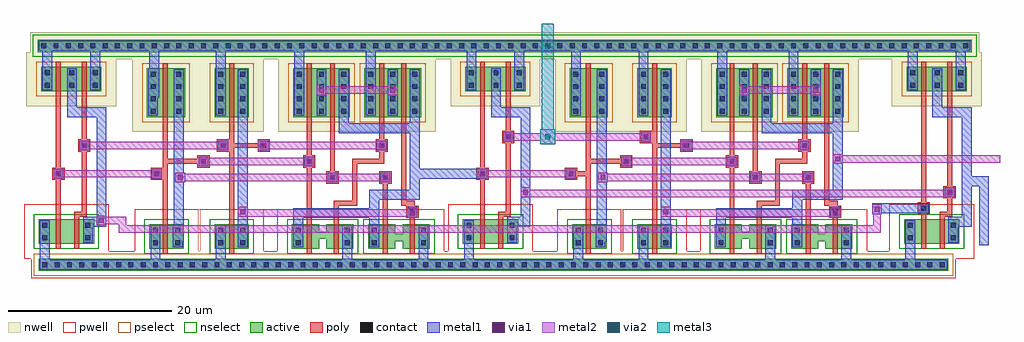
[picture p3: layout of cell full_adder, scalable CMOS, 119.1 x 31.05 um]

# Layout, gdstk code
import gdstk
lib = gdstk.Library(unit=1e-6, precision=1e-09)
def R(c, l, rs):  # rectangles x0, y0, x1, y1
    for r in rs: c.add(gdstk.rectangle(r[:2], r[2:], *l))
def A(c, l, x, y, w, h, nx, ny, dx, dy):  # array of equal rectangles
    R(c, l, [(x+i*dx, y+j*dy, x+i*dx+w, y+j*dy+h) for i in range(nx) for j in range(ny)])
contact = (25, 0)
pwell = (41, 0)
nwell = (42, 0)
active = (43, 0)
pselect = (44, 0)
nselect = (45, 0)
poly = (46, 0)
metal1 = (49, 0)
via1 = (50, 0)
metal2 = (51, 0)
via2 = (61, 0)
metal3 = (62, 0)

full_adder = lib.new_cell('full_adder')
A(full_adder, contact, 0.9, 1.35, 0.6, 0.6, 74, 1, 1.5, 0)
A(full_adder, contact, 14.1, 20.1, 0.6, 0.6, 1, 4, 0, 1.5)
A(full_adder, contact, 17.25, 20.1, 0.6, 0.6, 1, 4, 0, 1.5)
A(full_adder, contact, 22.35, 20.1, 0.6, 0.6, 1, 4, 0, 1.5)
A(full_adder, contact, 25.05, 20.1, 0.6, 0.6, 1, 4, 0, 1.5)
A(full_adder, contact, 31.95, 20.1, 0.6, 0.6, 3, 4, 2.7, 1.5)
A(full_adder, contact, 40.65, 20.1, 0.6, 0.6, 3, 4, 2.7, 1.5)
A(full_adder, contact, 65.7, 20.1, 0.6, 0.6, 1, 4, 0, 1.5)
A(full_adder, contact, 68.85, 20.1, 0.6, 0.6, 1, 4, 0, 1.5)
A(full_adder, contact, 73.95, 20.1, 0.6, 0.6, 1, 4, 0, 1.5)
A(full_adder, contact, 76.65, 20.1, 0.6, 0.6, 1, 4, 0, 1.5)
A(full_adder, contact, 83.55, 20.1, 0.6, 0.6, 3, 4, 2.7, 1.5)
A(full_adder, contact, 92.25, 20.1, 0.6, 0.6, 3, 4, 2.7, 1.5)
A(full_adder, contact, 0.75, 28.05, 0.6, 0.6, 76, 1, 1.5, 0)
R(full_adder, contact, [(14.4,4.05,15,4.65), (17.1,4.05,17.7,4.65), (22.35,4.05,22.95,4.65), (25.05,4.05,25.65,4.65), (31.8,4.05,32.4,4.65), (37.8,4.05,38.4,4.65), (41.1,4.05,41.7,4.65), (47.1,4.05,47.7,4.65), (66,4.05,66.6,4.65), (68.7,4.05,69.3,4.65), (73.95,4.05,74.55,4.65), (76.65,4.05,77.25,4.65), (83.4,4.05,84,4.65), (89.4,4.05,90,4.65), (92.7,4.05,93.3,4.65), (98.7,4.05,99.3,4.65), (0.9,4.65,1.5,5.25), (6.15,4.65,6.75,5.25), (52.65,4.65,53.25,5.25), (57.9,4.65,58.5,5.25), (106.5,4.65,107.1,5.25), (111.75,4.65,112.35,5.25), (14.4,5.55,15,6.15), (17.1,5.55,17.7,6.15), (22.35,5.55,22.95,6.15), (25.05,5.55,25.65,6.15), (31.8,5.55,32.4,6.15), (37.8,5.55,38.4,6.15), (41.1,5.55,41.7,6.15), (47.1,5.55,47.7,6.15), (66,5.55,66.6,6.15), (68.7,5.55,69.3,6.15), (73.95,5.55,74.55,6.15), (76.65,5.55,77.25,6.15), (83.4,5.55,84,6.15), (89.4,5.55,90,6.15), (92.7,5.55,93.3,6.15), (98.7,5.55,99.3,6.15), (0.9,6.15,1.5,6.75), (6.15,6.15,6.75,6.75), (52.65,6.15,53.25,6.75), (57.9,6.15,58.5,6.75), (106.5,6.15,107.1,6.75), (111.75,6.15,112.35,6.75), (45.75,7.8,46.35,8.4), (97.35,7.8,97.95,8.4), (108.15,8.25,108.75,8.85), (111.3,10.2,111.9,10.8), (36,12,36.6,12.6), (42.45,12,43.05,12.6), (87.6,12,88.2,12.6), (94.05,12,94.65,12.6), (2.55,12.45,3.15,13.05), (14.55,12.45,15.15,13.05), (54.3,12.45,54.9,13.05), (65.1,12.45,65.7,13.05), (20.25,13.95,20.85,14.55), (33.15,13.95,33.75,14.55), (71.85,13.95,72.45,14.55), (84.75,13.95,85.35,14.55), (5.7,15.9,6.3,16.5), (22.65,15.9,23.25,16.5), (27.6,15.9,28.2,16.5), (42,15.9,42.6,16.5), (79.2,15.9,79.8,16.5), (93.6,15.9,94.2,16.5), (57.45,16.95,58.05,17.55), (74.25,16.95,74.85,17.55), (1.2,23.25,1.8,23.85), (4.2,23.25,4.8,23.85), (7.05,23.25,7.65,23.85), (52.95,23.25,53.55,23.85), (55.95,23.25,56.55,23.85), (58.8,23.25,59.4,23.85), (106.8,23.25,107.4,23.85), (109.8,23.25,110.4,23.85), (112.65,23.25,113.25,23.85), (1.2,24.75,1.8,25.35), (4.2,24.75,4.8,25.35), (7.05,24.75,7.65,25.35), (52.95,24.75,53.55,25.35), (55.95,24.75,56.55,25.35), (58.8,24.75,59.4,25.35), (106.8,24.75,107.4,25.35), (109.8,24.75,110.4,25.35), (112.65,24.75,113.25,25.35)])
R(full_adder, pwell, [(-0.45,0,112.35,3.3), (12.15,1.8,17.25,8.4), (12.9,1.8,18.9,8.4), (14.85,1.8,19.95,8.4), (20.1,1.8,25.2,8.4), (21,1.8,27,8.4), (22.8,1.8,27.9,8.4), (29.55,1.8,34.65,8.4), (30.45,1.8,36.45,8.4), (33.75,1.8,39.75,8.4), (35.55,1.8,40.65,8.4), (38.85,1.8,43.95,8.4), (39.75,1.8,45.75,8.4), (43.05,1.8,49.05,8.4), (44.85,1.8,49.95,8.4), (63.75,1.8,68.85,8.4), (64.5,1.8,70.5,8.4), (66.45,1.8,71.55,8.4), (71.7,1.8,76.8,8.4), (72.6,1.8,78.6,8.4), (74.4,1.8,79.5,8.4), (81.15,1.8,86.25,8.4), (82.05,1.8,88.05,8.4), (85.35,1.8,91.35,8.4), (87.15,1.8,92.25,8.4), (90.45,1.8,95.55,8.4), (91.35,1.8,97.35,8.4), (94.65,1.8,100.65,8.4), (96.45,1.8,101.55,8.4), (-1.35,2.4,3.75,9), (-0.15,2.4,5.85,9), (2.1,2.4,8.1,9), (3.9,2.4,9,9), (50.4,2.4,55.5,9), (51.6,2.4,57.6,9), (53.85,2.4,59.85,9), (55.65,2.4,60.75,9), (104.25,2.4,109.35,9), (105.45,2.4,111.45,9), (107.7,2.4,113.7,9), (109.5,2.4,114.6,9), (41.625,2.7,47.175,7.2), (93.225,2.7,98.775,7.2), (12.45,2.85,17.025,7.35), (14.775,2.85,19.65,7.35), (20.4,2.85,25.125,7.35), (22.875,2.85,27.6,7.35), (29.7,2.85,34.575,7.35), (64.05,2.85,68.625,7.35), (66.375,2.85,71.25,7.35), (72,2.85,76.725,7.35), (74.475,2.85,79.2,7.35), (81.3,2.85,86.175,7.35), (32.325,3,37.875,7.5), (35.625,3,40.5,7.5), (83.925,3,89.475,7.5), (87.225,3,92.1,7.5), (-1.05,3.15,3.975,7.65), (39,3.15,43.875,7.65), (50.7,3.15,55.725,7.65), (90.6,3.15,95.475,7.65), (104.55,3.15,109.575,7.65), (44.925,3.3,49.8,7.8), (96.525,3.3,101.4,7.8), (3.975,3.45,8.7,7.95), (55.725,3.45,60.45,7.95), (109.575,3.45,114.3,7.95), (1.725,3.6,6.225,8.1), (53.475,3.6,57.975,8.1), (107.325,3.6,111.825,8.1)])
A(full_adder, nwell, 29.7, 17.85, 5.1, 9.6, 3, 1, 2.7, 0)
A(full_adder, nwell, 38.4, 17.85, 5.1, 9.6, 3, 1, 2.7, 0)
A(full_adder, nwell, 81.3, 17.85, 5.1, 9.6, 3, 1, 2.7, 0)
A(full_adder, nwell, 90, 17.85, 5.1, 9.6, 3, 1, 2.7, 0)
R(full_adder, nwell, [(11.85,17.85,16.95,27.45), (12.9,17.85,18.9,27.45), (15,17.85,20.1,27.45), (20.1,17.85,25.2,27.45), (21,17.85,27,27.45), (22.8,17.85,27.9,27.45), (30.45,17.85,36.45,27.45), (33.3,17.85,39.3,27.45), (39.3,17.85,45.3,27.45), (42,17.85,48,27.45), (63.45,17.85,68.55,27.45), (64.5,17.85,70.5,27.45), (66.6,17.85,71.7,27.45), (71.7,17.85,76.8,27.45), (72.6,17.85,78.6,27.45), (74.4,17.85,79.5,27.45), (82.05,17.85,88.05,27.45), (84.9,17.85,90.9,27.45), (90.9,17.85,96.9,27.45), (93.6,17.85,99.6,27.45), (30,19.8,34.575,24.3), (32.325,19.8,37.35,24.3), (81.6,19.8,86.175,24.3), (83.925,19.8,88.95,24.3), (-1.05,21,4.05,27.6), (-0.15,21,5.85,27.6), (1.95,21,7.05,27.6), (3,21,9,27.6), (4.8,21,9.9,27.6), (12.3,21,17.025,25.5), (14.775,21,19.8,25.5), (20.4,21,25.125,25.5), (22.875,21,27.6,25.5), (50.7,21,55.8,27.6), (51.6,21,57.6,27.6), (53.7,21,58.8,27.6), (54.75,21,60.75,27.6), (56.55,21,61.65,27.6), (63.9,21,68.625,25.5), (66.375,21,71.4,25.5), (72,21,76.725,25.5), (74.475,21,79.2,25.5), (104.55,21,109.65,27.6), (105.45,21,111.45,27.6), (107.55,21,112.65,27.6), (108.6,21,114.6,27.6), (110.4,21,115.5,27.6), (32.7,21.9,37.425,26.4), (35.175,21.9,40.05,26.4), (38.7,21.9,43.425,26.4), (41.175,21.9,46.05,26.4), (41.4,21.9,46.125,26.4), (43.875,21.9,48.75,26.4), (84.3,21.9,89.025,26.4), (86.775,21.9,91.65,26.4), (90.3,21.9,95.025,26.4), (92.775,21.9,97.65,26.4), (93,21.9,97.725,26.4), (95.475,21.9,100.35,26.4), (-0.75,22.8,3.975,27.3), (1.725,22.8,6.9,27.3), (2.4,22.8,7.125,27.3), (4.875,22.8,9.75,27.3), (51,22.8,55.725,27.3), (53.475,22.8,58.65,27.3), (54.15,22.8,58.875,27.3), (56.625,22.8,61.5,27.3), (104.85,22.8,109.575,27.3), (107.325,22.8,112.5,27.3), (108,22.8,112.725,27.3), (110.475,22.8,115.35,27.3), (-0.6,26.7,115.2,30)])
A(full_adder, active, 31.5, 19.65, 1.5, 6, 3, 1, 2.7, 0)
A(full_adder, active, 40.2, 19.65, 1.5, 6, 3, 1, 2.7, 0)
A(full_adder, active, 83.1, 19.65, 1.5, 6, 3, 1, 2.7, 0)
A(full_adder, active, 91.8, 19.65, 1.5, 6, 3, 1, 2.7, 0)
R(full_adder, active, [(0.45,0.9,111.45,2.4), (13.95,3.6,15.45,6.6), (14.7,3.6,17.1,6.6), (16.65,3.6,18.15,6.6), (21.9,3.6,23.4,6.6), (22.8,3.6,25.2,6.6), (24.6,3.6,26.1,6.6), (31.35,3.6,32.85,6.6), (32.25,3.6,34.65,6.6), (35.55,3.6,37.95,6.6), (37.35,3.6,38.85,6.6), (40.65,3.6,42.15,6.6), (41.55,3.6,43.95,6.6), (44.85,3.6,47.25,6.6), (46.65,3.6,48.15,6.6), (65.55,3.6,67.05,6.6), (66.3,3.6,68.7,6.6), (68.25,3.6,69.75,6.6), (73.5,3.6,75,6.6), (74.4,3.6,76.8,6.6), (76.2,3.6,77.7,6.6), (82.95,3.6,84.45,6.6), (83.85,3.6,86.25,6.6), (87.15,3.6,89.55,6.6), (88.95,3.6,90.45,6.6), (92.25,3.6,93.75,6.6), (93.15,3.6,95.55,6.6), (96.45,3.6,98.85,6.6), (98.25,3.6,99.75,6.6), (0.45,4.2,1.95,7.2), (1.65,4.2,4.05,7.2), (3.9,4.2,6.3,7.2), (5.7,4.2,7.2,7.2), (52.2,4.2,53.7,7.2), (53.4,4.2,55.8,7.2), (55.65,4.2,58.05,7.2), (57.45,4.2,58.95,7.2), (106.05,4.2,107.55,7.2), (107.25,4.2,109.65,7.2), (109.5,4.2,111.9,7.2), (111.3,4.2,112.8,7.2), (43.425,4.5,45.375,5.4), (95.025,4.5,96.975,5.4), (14.25,4.65,15.225,5.55), (16.575,4.65,17.85,5.55), (22.2,4.65,23.325,5.55), (24.675,4.65,25.8,5.55), (31.5,4.65,32.775,5.55), (65.85,4.65,66.825,5.55), (68.175,4.65,69.45,5.55), (73.8,4.65,74.925,5.55), (76.275,4.65,77.4,5.55), (83.1,4.65,84.375,5.55), (34.125,4.8,36.075,5.7), (37.425,4.8,38.7,5.7), (85.725,4.8,87.675,5.7), (89.025,4.8,90.3,5.7), (0.75,4.95,2.175,5.85), (40.8,4.95,42.075,5.85), (52.5,4.95,53.925,5.85), (92.4,4.95,93.675,5.85), (106.35,4.95,107.775,5.85), (46.725,5.1,48,6), (98.325,5.1,99.6,6), (5.775,5.25,6.9,6.15), (57.525,5.25,58.65,6.15), (111.375,5.25,112.5,6.15), (3.525,5.4,4.425,6.3), (55.275,5.4,56.175,6.3), (109.125,5.4,110.025,6.3), (13.65,19.65,15.15,25.65), (14.7,19.65,17.1,25.65), (16.8,19.65,18.3,25.65), (21.9,19.65,23.4,25.65), (22.8,19.65,25.2,25.65), (24.6,19.65,26.1,25.65), (32.25,19.65,34.65,25.65), (35.1,19.65,37.5,25.65), (41.1,19.65,43.5,25.65), (43.8,19.65,46.2,25.65), (65.25,19.65,66.75,25.65), (66.3,19.65,68.7,25.65), (68.4,19.65,69.9,25.65), (73.5,19.65,75,25.65), (74.4,19.65,76.8,25.65), (76.2,19.65,77.7,25.65), (83.85,19.65,86.25,25.65), (86.7,19.65,89.1,25.65), (92.7,19.65,95.1,25.65), (95.4,19.65,97.8,25.65), (31.8,21.6,32.775,22.5), (34.125,21.6,35.55,22.5), (83.4,21.6,84.375,22.5), (85.725,21.6,87.15,22.5), (0.75,22.8,2.25,25.8), (1.65,22.8,4.05,25.8), (3.75,22.8,5.25,25.8), (4.8,22.8,7.2,25.8), (6.6,22.8,8.1,25.8), (14.1,22.8,15.225,23.7), (16.575,22.8,18,23.7), (22.2,22.8,23.325,23.7), (24.675,22.8,25.8,23.7), (52.5,22.8,54,25.8), (53.4,22.8,55.8,25.8), (55.5,22.8,57,25.8), (56.55,22.8,58.95,25.8), (58.35,22.8,59.85,25.8), (65.7,22.8,66.825,23.7), (68.175,22.8,69.6,23.7), (73.8,22.8,74.925,23.7), (76.275,22.8,77.4,23.7), (106.35,22.8,107.85,25.8), (107.25,22.8,109.65,25.8), (109.35,22.8,110.85,25.8), (110.4,22.8,112.8,25.8), (112.2,22.8,113.7,25.8), (34.5,23.7,35.625,24.6), (36.975,23.7,38.25,24.6), (40.5,23.7,41.625,24.6), (42.975,23.7,44.25,24.6), (43.2,23.7,44.325,24.6), (45.675,23.7,46.95,24.6), (86.1,23.7,87.225,24.6), (88.575,23.7,89.85,24.6), (92.1,23.7,93.225,24.6), (94.575,23.7,95.85,24.6), (94.8,23.7,95.925,24.6), (97.275,23.7,98.55,24.6), (1.05,24.6,2.175,25.5), (3.525,24.6,5.1,25.5), (4.2,24.6,5.325,25.5), (6.675,24.6,7.95,25.5), (52.8,24.6,53.925,25.5), (55.275,24.6,56.85,25.5), (55.95,24.6,57.075,25.5), (58.425,24.6,59.7,25.5), (106.65,24.6,107.775,25.5), (109.125,24.6,110.7,25.5), (109.8,24.6,110.925,25.5), (112.275,24.6,113.55,25.5), (0.3,27.6,114.3,29.1)])
A(full_adder, pselect, 30.9, 19.05, 2.7, 7.2, 3, 1, 2.7, 0)
A(full_adder, pselect, 39.6, 19.05, 2.7, 7.2, 3, 1, 2.7, 0)
A(full_adder, pselect, 82.5, 19.05, 2.7, 7.2, 3, 1, 2.7, 0)
A(full_adder, pselect, 91.2, 19.05, 2.7, 7.2, 3, 1, 2.7, 0)
R(full_adder, pselect, [(-0.15,0.3,112.05,3), (13.05,19.05,15.75,26.25), (14.1,19.05,17.7,26.25), (16.2,19.05,18.9,26.25), (21.3,19.05,24,26.25), (22.2,19.05,25.8,26.25), (24,19.05,26.7,26.25), (31.65,19.05,35.25,26.25), (34.5,19.05,38.1,26.25), (40.5,19.05,44.1,26.25), (43.2,19.05,46.8,26.25), (64.65,19.05,67.35,26.25), (65.7,19.05,69.3,26.25), (67.8,19.05,70.5,26.25), (72.9,19.05,75.6,26.25), (73.8,19.05,77.4,26.25), (75.6,19.05,78.3,26.25), (83.25,19.05,86.85,26.25), (86.1,19.05,89.7,26.25), (92.1,19.05,95.7,26.25), (94.8,19.05,98.4,26.25), (31.2,21,33.375,23.1), (33.525,21,36.15,23.1), (82.8,21,84.975,23.1), (85.125,21,87.75,23.1), (0.15,22.2,2.85,26.4), (1.05,22.2,4.65,26.4), (3.15,22.2,5.85,26.4), (4.2,22.2,7.8,26.4), (6,22.2,8.7,26.4), (13.5,22.2,15.825,24.3), (15.975,22.2,18.6,24.3), (21.6,22.2,23.925,24.3), (24.075,22.2,26.4,24.3), (51.9,22.2,54.6,26.4), (52.8,22.2,56.4,26.4), (54.9,22.2,57.6,26.4), (55.95,22.2,59.55,26.4), (57.75,22.2,60.45,26.4), (65.1,22.2,67.425,24.3), (67.575,22.2,70.2,24.3), (73.2,22.2,75.525,24.3), (75.675,22.2,78,24.3), (105.75,22.2,108.45,26.4), (106.65,22.2,110.25,26.4), (108.75,22.2,111.45,26.4), (109.8,22.2,113.4,26.4), (111.6,22.2,114.3,26.4), (33.9,23.1,36.225,25.2), (36.375,23.1,38.85,25.2), (39.9,23.1,42.225,25.2), (42.375,23.1,44.85,25.2), (42.6,23.1,44.925,25.2), (45.075,23.1,47.55,25.2), (85.5,23.1,87.825,25.2), (87.975,23.1,90.45,25.2), (91.5,23.1,93.825,25.2), (93.975,23.1,96.45,25.2), (94.2,23.1,96.525,25.2), (96.675,23.1,99.15,25.2), (0.45,24,2.775,26.1), (2.925,24,5.7,26.1), (3.6,24,5.925,26.1), (6.075,24,8.55,26.1), (52.2,24,54.525,26.1), (54.675,24,57.45,26.1), (55.35,24,57.675,26.1), (57.825,24,60.3,26.1), (106.05,24,108.375,26.1), (108.525,24,111.3,26.1), (109.2,24,111.525,26.1), (111.675,24,114.15,26.1)])
R(full_adder, nselect, [(13.35,3,16.05,7.2), (14.1,3,17.7,7.2), (16.05,3,18.75,7.2), (21.3,3,24,7.2), (22.2,3,25.8,7.2), (24,3,26.7,7.2), (30.75,3,33.45,7.2), (31.65,3,35.25,7.2), (34.95,3,38.55,7.2), (36.75,3,39.45,7.2), (40.05,3,42.75,7.2), (40.95,3,44.55,7.2), (44.25,3,47.85,7.2), (46.05,3,48.75,7.2), (64.95,3,67.65,7.2), (65.7,3,69.3,7.2), (67.65,3,70.35,7.2), (72.9,3,75.6,7.2), (73.8,3,77.4,7.2), (75.6,3,78.3,7.2), (82.35,3,85.05,7.2), (83.25,3,86.85,7.2), (86.55,3,90.15,7.2), (88.35,3,91.05,7.2), (91.65,3,94.35,7.2), (92.55,3,96.15,7.2), (95.85,3,99.45,7.2), (97.65,3,100.35,7.2), (-0.15,3.6,2.55,7.8), (1.05,3.6,4.65,7.8), (3.3,3.6,6.9,7.8), (5.1,3.6,7.8,7.8), (51.6,3.6,54.3,7.8), (52.8,3.6,56.4,7.8), (55.05,3.6,58.65,7.8), (56.85,3.6,59.55,7.8), (105.45,3.6,108.15,7.8), (106.65,3.6,110.25,7.8), (108.9,3.6,112.5,7.8), (110.7,3.6,113.4,7.8), (42.825,3.9,45.975,6), (94.425,3.9,97.575,6), (13.65,4.05,15.825,6.15), (15.975,4.05,18.45,6.15), (21.6,4.05,23.925,6.15), (24.075,4.05,26.4,6.15), (30.9,4.05,33.375,6.15), (65.25,4.05,67.425,6.15), (67.575,4.05,70.05,6.15), (73.2,4.05,75.525,6.15), (75.675,4.05,78,6.15), (82.5,4.05,84.975,6.15), (33.525,4.2,36.675,6.3), (36.825,4.2,39.3,6.3), (85.125,4.2,88.275,6.3), (88.425,4.2,90.9,6.3), (0.15,4.35,2.775,6.45), (40.2,4.35,42.675,6.45), (51.9,4.35,54.525,6.45), (91.8,4.35,94.275,6.45), (105.75,4.35,108.375,6.45), (46.125,4.5,48.6,6.6), (97.725,4.5,100.2,6.6), (5.175,4.65,7.5,6.75), (56.925,4.65,59.25,6.75), (110.775,4.65,113.1,6.75), (2.925,4.8,5.025,6.9), (54.675,4.8,56.775,6.9), (108.525,4.8,110.625,6.9), (-0.3,27,114.9,29.7)])
R(full_adder, poly, [(15.6,3,16.2,7.2), (23.7,3,24.3,7.2), (33.15,3,33.75,7.2), (36.45,3,37.05,7.2), (42.45,3,43.05,7.2), (45.75,3,46.35,7.2), (67.2,3,67.8,7.2), (75.3,3,75.9,7.2), (84.75,3,85.35,7.2), (88.05,3,88.65,7.2), (94.05,3,94.65,7.2), (97.35,3,97.95,7.2), (2.55,3.6,3.15,7.8), (4.8,3.6,5.4,7.8), (54.3,3.6,54.9,7.8), (56.55,3.6,57.15,7.8), (108.15,3.6,108.75,7.8), (110.4,3.6,111,7.8), (15.6,6.9,16.2,14.55), (23.7,6.9,24.3,16.5), (23.7,6.9,24.3,7.5), (33.15,6.9,33.75,14.55), (36.45,6.9,37.05,9.45), (42.45,6.9,43.05,12.6), (45.75,6.9,46.35,8.25), (67.2,6.9,67.8,13.05), (75.3,6.9,75.9,16.5), (75.3,6.9,75.9,7.5), (84.75,6.9,85.35,14.55), (88.05,6.9,88.65,9.45), (94.05,6.9,94.65,12.6), (97.35,6.9,97.95,8.25), (45.3,7.35,46.8,8.85), (96.9,7.35,98.4,8.85), (2.55,7.5,3.15,13.05), (4.8,7.5,6.3,8.1), (5.7,7.5,6.3,16.35), (54.3,7.5,54.9,13.05), (56.55,7.5,58.05,8.1), (57.45,7.5,58.05,17.55), (108.15,7.5,108.75,8.7), (110.4,7.5,111.9,8.1), (111.3,7.5,111.9,10.8), (45.75,7.65,46.35,9.45), (97.35,7.65,97.95,9.45), (107.7,7.8,109.2,9.3), (108.15,8.1,108.75,22.5), (36.45,8.85,39.3,9.45), (38.7,8.85,39.3,14.55), (44.7,8.85,46.35,9.45), (44.7,8.85,45.3,12.45), (88.05,8.85,90.9,9.45), (90.3,8.85,90.9,14.55), (96.3,8.85,97.95,9.45), (96.3,8.85,96.9,12.45), (110.85,9.75,112.35,11.25), (111.3,10.2,111.9,22.5), (35.55,11.55,37.05,13.05), (42,11.55,43.5,13.05), (87.15,11.55,88.65,13.05), (93.6,11.55,95.1,13.05), (44.7,11.85,45.3,19.35), (96.3,11.85,96.9,19.35), (2.1,12,3.6,13.5), (14.1,12,15.6,13.5), (36,12,36.6,13.95), (53.85,12,55.35,13.5), (64.65,12,66.15,13.5), (87.6,12,88.2,13.95), (2.55,12.45,3.15,22.5), (14.4,12.45,16.2,13.05), (15.6,12.45,16.2,14.55), (15.6,12.45,16.2,19.35), (54.3,12.45,54.9,22.5), (65.1,12.45,67.8,13.05), (67.2,12.45,67.8,14.55), (36,13.35,36.6,19.35), (87.6,13.35,88.2,19.35), (19.8,13.5,21.3,15), (32.7,13.5,34.2,15), (71.4,13.5,72.9,15), (84.3,13.5,85.8,15), (15.6,13.95,20.85,14.55), (33.15,13.95,33.75,19.35), (38.7,13.95,42.6,14.55), (42,13.95,42.6,16.5), (67.2,13.95,67.8,19.35), (67.2,13.95,72.45,14.55), (84.75,13.95,85.35,19.35), (90.3,13.95,94.2,14.55), (93.6,13.95,94.2,16.5), (5.25,15.45,6.75,16.95), (22.2,15.45,23.7,16.95), (27.15,15.45,28.65,16.95), (41.55,15.45,43.05,16.95), (78.75,15.45,80.25,16.95), (93.15,15.45,94.65,16.95), (5.7,15.75,6.3,22.5), (22.5,15.75,24.3,16.35), (23.7,15.75,24.3,19.35), (23.7,15.75,24.3,16.5), (23.7,15.9,28.05,16.5), (42,15.9,42.6,19.35), (75.3,15.9,79.65,16.5), (75.3,15.9,75.9,17.55), (93.6,15.9,94.2,19.35), (57,16.5,58.5,18), (73.8,16.5,75.3,18), (57.45,16.95,58.05,22.5), (74.1,16.95,75.9,17.55), (75.3,16.95,75.9,19.35), (15.6,19.05,16.2,26.25), (23.7,19.05,24.3,26.25), (33.15,19.05,33.75,26.25), (36,19.05,36.6,26.25), (42,19.05,42.6,26.25), (44.7,19.05,45.3,26.25), (67.2,19.05,67.8,26.25), (75.3,19.05,75.9,26.25), (84.75,19.05,85.35,26.25), (87.6,19.05,88.2,26.25), (93.6,19.05,94.2,26.25), (96.3,19.05,96.9,26.25), (2.55,22.2,3.15,26.4), (5.7,22.2,6.3,26.4), (54.3,22.2,54.9,26.4), (57.45,22.2,58.05,26.4), (108.15,22.2,108.75,26.4), (111.3,22.2,111.9,26.4)])
A(full_adder, metal1, 31.65, 19.8, 1.2, 5.7, 3, 1, 2.7, 0)
A(full_adder, metal1, 40.35, 19.8, 1.2, 5.7, 3, 1, 2.7, 0)
A(full_adder, metal1, 83.25, 19.8, 1.2, 5.7, 3, 1, 2.7, 0)
A(full_adder, metal1, 91.95, 19.8, 1.2, 5.7, 3, 1, 2.7, 0)
R(full_adder, metal1, [(0.6,1.05,111.3,2.25), (0.6,1.05,1.8,6.3), (52.35,1.05,53.55,6.3), (65.7,1.05,66.9,5.7), (73.65,1.05,74.85,5.7), (89.1,1.05,90.3,5.7), (98.4,1.05,99.6,5.7), (106.2,1.05,107.4,6.3), (14.1,1.2,15.3,5.7), (22.05,1.2,23.25,5.7), (37.5,1.2,38.7,5.7), (46.8,1.2,48,5.7), (14.1,3.75,15.3,6.45), (16.8,3.75,18,6.45), (22.05,3.75,23.25,6.45), (24.75,3.75,25.95,6.45), (31.5,3.75,32.7,6.45), (37.5,3.75,38.7,6.45), (40.8,3.75,42,6.45), (46.8,3.75,48,6.45), (65.7,3.75,66.9,6.45), (68.4,3.75,69.6,6.45), (73.65,3.75,74.85,6.45), (76.35,3.75,77.55,6.45), (83.1,3.75,84.3,6.45), (89.1,3.75,90.3,6.45), (92.4,3.75,93.6,6.45), (98.4,3.75,99.6,6.45), (115.2,4.05,116.4,12.45), (0.6,4.35,1.8,7.05), (5.85,4.35,7.05,7.05), (52.35,4.35,53.55,7.05), (57.6,4.35,58.8,7.05), (106.2,4.35,107.4,7.05), (111.45,4.35,112.65,7.05), (16.95,4.5,18.15,12.9), (24.75,4.5,25.95,8.55), (31.5,4.5,32.7,8.55), (40.8,4.5,42,8.55), (68.55,4.5,69.75,12.9), (76.35,4.5,77.55,8.55), (83.1,4.5,84.3,8.55), (92.4,4.5,93.6,8.55), (5.85,5.1,7.05,7.5), (57.6,5.1,58.8,7.5), (111.45,5.1,112.65,7.5), (5.85,6.3,8.7,7.5), (7.5,6.3,8.7,7.65), (57.6,6.3,60.45,7.5), (59.25,6.3,60.45,11.1), (111.45,6.3,114.3,7.5), (113.1,6.3,114.3,12.45), (7.5,6.45,8.7,7.65), (7.5,6.45,8.7,20.85), (31.5,7.35,42,8.55), (40.8,7.35,42,10.8), (45.45,7.35,46.65,8.55), (83.1,7.35,93.6,8.55), (92.4,7.35,93.6,10.8), (97.05,7.35,98.25,8.55), (24.75,7.5,25.95,8.7), (24.75,7.5,25.95,23.55), (45.45,7.5,46.65,8.7), (76.35,7.5,77.55,8.7), (76.35,7.5,77.55,23.55), (97.05,7.5,98.25,8.7), (45.6,7.65,46.5,8.55), (97.2,7.65,98.1,8.55), (102.15,7.8,103.35,9), (102.15,7.95,103.5,9.15), (102.15,7.95,109.05,9.15), (107.85,7.95,109.05,9.15), (40.8,9.6,46.95,10.8), (45.75,9.6,46.95,13.35), (92.4,9.6,98.55,10.8), (97.35,9.6,98.55,15.15), (59.25,9.9,60.45,11.1), (59.25,9.9,60.45,20.85), (111,9.9,112.2,11.1), (111,9.9,112.2,11.1), (111.15,10.05,112.05,10.95), (113.1,11.25,114.3,20.85), (113.1,11.25,116.4,12.45), (16.95,11.7,18.15,23.55), (17.1,11.7,18.3,12.9), (35.7,11.7,36.9,12.9), (35.7,11.7,36.9,12.9), (42.15,11.7,43.35,12.9), (42.15,11.7,43.35,12.9), (68.55,11.7,69.75,23.55), (68.7,11.7,69.9,12.9), (87.3,11.7,88.5,12.9), (87.3,11.7,88.5,12.9), (93.75,11.7,94.95,12.9), (93.75,11.7,94.95,12.9), (35.85,11.85,36.75,12.75), (42.3,11.85,43.2,12.75), (87.45,11.85,88.35,12.75), (93.9,11.85,94.8,12.75), (2.25,12.15,3.45,13.35), (2.25,12.15,3.45,13.35), (14.25,12.15,15.45,13.35), (14.25,12.15,15.45,13.35), (45.75,12.15,46.95,18.9), (45.75,12.15,48.75,13.35), (47.55,12.15,55.2,13.35), (54,12.15,55.2,13.35), (54,12.15,55.2,13.35), (54,12.15,55.2,13.35), (64.8,12.15,66,13.35), (64.8,12.15,66,13.35), (2.4,12.3,3.3,13.2), (14.4,12.3,15.3,13.2), (64.95,12.3,65.85,13.2), (19.95,13.65,21.15,14.85), (19.95,13.65,21.15,14.85), (19.95,13.65,21.15,14.85), (32.85,13.65,34.05,14.85), (32.85,13.65,34.05,14.85), (71.55,13.65,72.75,14.85), (71.55,13.65,72.75,14.85), (71.55,13.65,72.75,14.85), (84.45,13.65,85.65,14.85), (84.45,13.65,85.65,14.85), (20.1,13.8,21,14.7), (20.1,13.8,21,14.7), (33,13.8,33.9,14.7), (71.7,13.8,72.6,14.7), (71.7,13.8,72.6,14.7), (84.6,13.8,85.5,14.7), (97.35,13.95,98.55,15.15), (97.35,13.95,98.55,18.9), (27.45,15.45,28.65,16.8), (79.05,15.45,80.25,16.8), (5.4,15.6,6.6,16.8), (5.4,15.6,6.6,16.8), (5.55,15.6,6.45,16.5), (22.35,15.6,23.55,16.8), (22.35,15.6,23.55,16.8), (27.15,15.6,28.35,16.8), (27.3,15.6,28.5,16.8), (41.7,15.6,42.9,16.8), (41.7,15.6,42.9,16.8), (41.7,15.6,42.9,16.8), (78.75,15.6,79.95,16.8), (78.9,15.6,80.1,16.8), (93.3,15.6,94.5,16.8), (93.3,15.6,94.5,16.8), (93.3,15.6,94.5,16.8), (22.5,15.75,23.4,16.65), (41.85,15.75,42.75,16.65), (41.85,15.75,42.75,16.65), (93.45,15.75,94.35,16.65), (93.45,15.75,94.35,16.65), (57.15,16.65,58.35,17.85), (57.15,16.65,58.35,17.85), (73.95,16.65,75.15,17.85), (73.95,16.65,75.15,17.85), (57.3,16.8,58.2,17.7), (74.1,16.8,75,17.7), (37.05,17.7,38.25,22.65), (37.05,17.7,38.7,18.9), (37.5,17.7,46.95,18.9), (45.75,17.7,46.95,22.65), (88.65,17.7,89.85,22.65), (88.65,17.7,90.3,18.9), (89.1,17.7,98.55,18.9), (97.35,17.7,98.55,22.65), (3.9,19.65,7.05,20.85), (3.9,19.65,5.1,25.65), (5.85,19.65,8.7,20.85), (55.65,19.65,58.8,20.85), (55.65,19.65,56.85,25.65), (57.6,19.65,60.45,20.85), (109.5,19.65,112.65,20.85), (109.5,19.65,110.7,25.65), (111.45,19.65,114.3,20.85), (13.8,19.8,15,25.5), (16.95,19.8,18.15,25.5), (22.05,19.8,23.25,25.5), (24.75,19.8,25.95,25.5), (65.4,19.8,66.6,25.5), (68.55,19.8,69.75,25.5), (73.65,19.8,74.85,25.5), (76.35,19.8,77.55,25.5), (13.95,22.05,15.15,28.95), (22.05,22.05,23.25,28.95), (31.65,22.05,32.85,28.95), (40.35,22.05,41.55,28.95), (65.4,22.05,66.6,28.95), (73.65,22.05,74.85,28.95), (83.25,22.05,84.45,28.95), (91.95,22.05,93.15,28.95), (34.35,22.35,35.55,23.55), (34.35,22.35,35.55,24.75), (43.05,22.35,44.25,23.55), (43.05,22.35,44.25,24.75), (85.95,22.35,87.15,23.55), (85.95,22.35,87.15,24.75), (94.65,22.35,95.85,23.55), (94.65,22.35,95.85,24.75), (0.9,22.95,2.1,25.65), (3.9,22.95,5.1,25.65), (6.75,22.95,7.95,25.65), (52.65,22.95,53.85,25.65), (55.65,22.95,56.85,25.65), (58.5,22.95,59.7,25.65), (106.5,22.95,107.7,25.65), (109.5,22.95,110.7,25.65), (112.35,22.95,113.55,25.65), (0.9,23.7,2.1,28.95), (6.75,23.7,7.95,28.95), (52.65,23.7,53.85,28.95), (58.5,23.7,59.7,28.95), (106.5,23.7,107.7,28.95), (112.35,23.7,113.55,28.95), (0.45,27.75,114.15,28.95)])
R(full_adder, via1, [(7.8,6.75,8.4,7.35), (45.75,7.65,46.35,8.25), (97.35,7.65,97.95,8.25), (25.05,7.8,25.65,8.4), (76.65,7.8,77.25,8.4), (102.45,8.1,103.05,8.7), (59.55,10.2,60.15,10.8), (111.3,10.2,111.9,10.8), (17.4,12,18,12.6), (36,12,36.6,12.6), (42.45,12,43.05,12.6), (69,12,69.6,12.6), (87.6,12,88.2,12.6), (94.05,12,94.65,12.6), (2.55,12.45,3.15,13.05), (14.55,12.45,15.15,13.05), (54.3,12.45,54.9,13.05), (65.1,12.45,65.7,13.05), (20.25,13.95,20.85,14.55), (20.25,13.95,20.85,14.55), (33.15,13.95,33.75,14.55), (71.85,13.95,72.45,14.55), (71.85,13.95,72.45,14.55), (84.75,13.95,85.35,14.55), (97.65,14.25,98.25,14.85), (5.7,15.9,6.3,16.5), (22.65,15.9,23.25,16.5), (27.45,15.9,28.05,16.5), (42,15.9,42.6,16.5), (42,15.9,42.6,16.5), (79.05,15.9,79.65,16.5), (93.6,15.9,94.2,16.5), (93.6,15.9,94.2,16.5), (57.45,16.95,58.05,17.55), (74.25,16.95,74.85,17.55), (34.65,22.65,35.25,23.25), (43.35,22.65,43.95,23.25), (86.25,22.65,86.85,23.25), (94.95,22.65,95.55,23.25)])
R(full_adder, metal2, [(10.2,5.55,11.1,7.5), (10.2,5.55,62.25,6.45), (61.35,5.55,103.2,6.45), (102.3,5.55,103.2,9), (7.5,6.45,8.7,7.65), (7.65,6.6,11.1,7.5), (45.45,7.35,46.65,8.55), (97.05,7.35,98.25,8.55), (24.75,7.5,25.95,8.7), (25.05,7.5,42.6,8.4), (41.7,7.5,46.5,8.4), (76.35,7.5,77.55,8.7), (76.65,7.5,94.2,8.4), (93.3,7.5,98.1,8.4), (102.15,7.8,103.35,9), (59.25,9.9,60.45,11.1), (59.4,9.9,63.45,10.8), (62.55,9.9,112.05,10.8), (111,9.9,112.2,11.1), (17.1,11.7,18.3,12.9), (35.7,11.7,36.9,12.9), (42.15,11.7,43.35,12.9), (68.7,11.7,69.9,12.9), (87.3,11.7,88.5,12.9), (93.75,11.7,94.95,12.9), (17.25,11.85,29.1,12.75), (28.2,11.85,36.75,12.75), (35.85,11.85,41.55,12.75), (40.65,11.85,43.2,12.75), (68.85,11.85,80.7,12.75), (79.8,11.85,88.35,12.75), (87.45,11.85,93.15,12.75), (92.25,11.85,94.8,12.75), (2.25,12.15,3.45,13.35), (14.25,12.15,15.45,13.35), (54,12.15,55.2,13.35), (64.8,12.15,66,13.35), (2.4,12.3,10.95,13.2), (10.05,12.3,12.75,13.2), (11.85,12.3,15.3,13.2), (54.15,12.3,64.8,13.2), (64.05,12.45,65.7,13.05), (19.95,13.65,21.15,14.85), (19.95,13.65,21.15,14.85), (32.85,13.65,34.05,14.85), (71.55,13.65,72.75,14.85), (71.55,13.65,72.75,14.85), (84.45,13.65,85.65,14.85), (20.1,13.8,30,14.7), (29.1,13.8,33.9,14.7), (71.7,13.8,81.6,14.7), (80.7,13.8,85.5,14.7), (97.35,13.95,98.55,15.15), (97.5,14.1,101.25,15), (100.35,14.1,117.75,15), (5.4,15.6,6.6,16.8), (22.35,15.6,23.55,16.8), (27.15,15.6,28.35,16.8), (41.7,15.6,42.9,16.8), (41.7,15.6,42.9,16.8), (78.75,15.6,79.95,16.8), (93.3,15.6,94.5,16.8), (93.3,15.6,94.5,16.8), (5.55,15.75,19.8,16.65), (18.9,15.75,21.3,16.65), (20.4,15.75,23.4,16.65), (27.15,15.75,33,16.65), (32.1,15.75,42.75,16.65), (78.75,15.75,84.6,16.65), (83.7,15.75,94.35,16.65), (61.65,16.35,63.45,18.15), (57.15,16.65,58.35,17.85), (73.95,16.65,75.15,17.85), (57.3,16.8,63,17.7), (62.1,16.8,75,17.7), (34.35,22.35,35.55,23.55), (43.05,22.35,44.25,23.55), (85.95,22.35,87.15,23.55), (94.65,22.35,95.85,23.55), (34.5,22.5,37.95,23.4), (37.05,22.5,44.1,23.4), (86.1,22.5,89.55,23.4), (88.65,22.5,95.7,23.4)])
R(full_adder, via2, [(62.25,16.95,62.85,17.55)])
R(full_adder, metal3, [(61.65,16.35,63.45,18.15), (61.8,16.5,63.3,20.1), (61.8,18.6,63.3,31.05)])

lib.write_gds('full_adder.gds')
